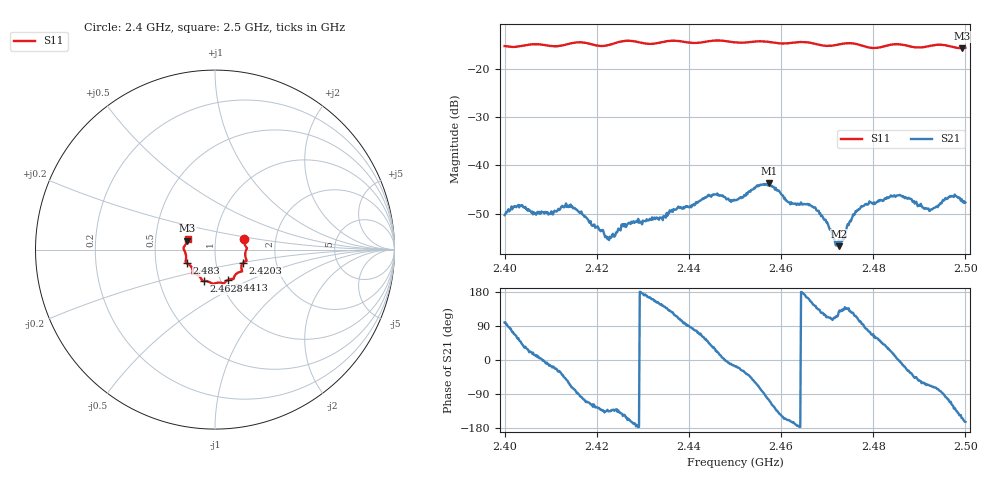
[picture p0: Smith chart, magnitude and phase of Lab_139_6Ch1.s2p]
# Hz S RI R 50
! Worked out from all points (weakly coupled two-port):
!   601 points, 2.4 GHz to 2.5 GHz, reference 50 ohm
!   highest |S21| = -43.65 dB at 2.4573 GHz (marker M1); lowest = -56.7 dB at 2.4727 GHz (marker M2)
!   lowest |S11| = -15.8 dB at 2.4993 GHz (marker M3), VSWR 1.39, Z = 36.5 + j3.73 ohm
!   |S11| at or under -10 dB: start of sweep to end of sweep
!   S12 and S22 are empty: the file has one direction only
!   S11 on the Smith chart (normalised r, x): 2.4 GHz: 1.37, +0.16; 2.4203 GHz: 1.35, -0.21; 2.4413 GHz: 1.09, -0.38; 2.4628 GHz: 0.83, -0.30; 2.483 GHz: 0.72, -0.11; 2.5 GHz: 0.73, +0.09
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2.4e9  0.1608 0.0566  -0.000481 0.00304  0 0  0 0
2.403333e9  0.1682 0.0229  0.0025 0.00296  0 0  0 0
2.413833e9  0.1723 -0.0501  0.00188 -0.00321  0 0  0 0
2.416667e9  0.1759 -0.0617  -0.000433 -0.00332  0 0  0 0
2.420333e9  0.1551 -0.0743  -0.00138 -0.00182  0 0  0 0
2.422667e9  0.1467 -0.0958  -0.00121 -0.00119  0 0  0 0
2.425833e9  0.1514 -0.1184  -0.00204 -0.00142  0 0  0 0
2.433333e9  0.1081 -0.1486  -0.00252 0.00134  0 0  0 0
2.441333e9  0.0744 -0.168  0.000832 0.00384  0 0  0 0
2.445667e9  0.0506 -0.1879  0.0044 0.00244  0 0  0 0
2.45e9  0.0293 -0.184  0.0042 -0.00118  0 0  0 0
2.457333e9  -0.0189 -0.1874  -0.00169 -0.00634  0 0  0 0
2.462833e9  -0.063 -0.1746  -0.00392 -0.000911  0 0  0 0
2.466667e9  -0.0743 -0.1676  -0.00332 0.00181  0 0  0 0
2.472667e9  -0.116 -0.1347  -0.000957 0.00112  0 0  0 0
2.477e9  -0.1244 -0.1241  -0.000696 0.00347  0 0  0 0
2.483e9  -0.1548 -0.0767  0.00392 0.0026  0 0  0 0
2.483333e9  -0.157 -0.0757  0.004 0.00231  0 0  0 0
2.492333e9  -0.1716 -0.00426  0.00127 -0.00317  0 0  0 0
2.496833e9  -0.1676 0.0224  -0.00165 -0.00448  0 0  0 0
2.499333e9  -0.1544 0.0497  -0.0038 -0.00191  0 0  0 0
2.5e9  -0.1528 0.0585  -0.00397 -0.00119  0 0  0 0
